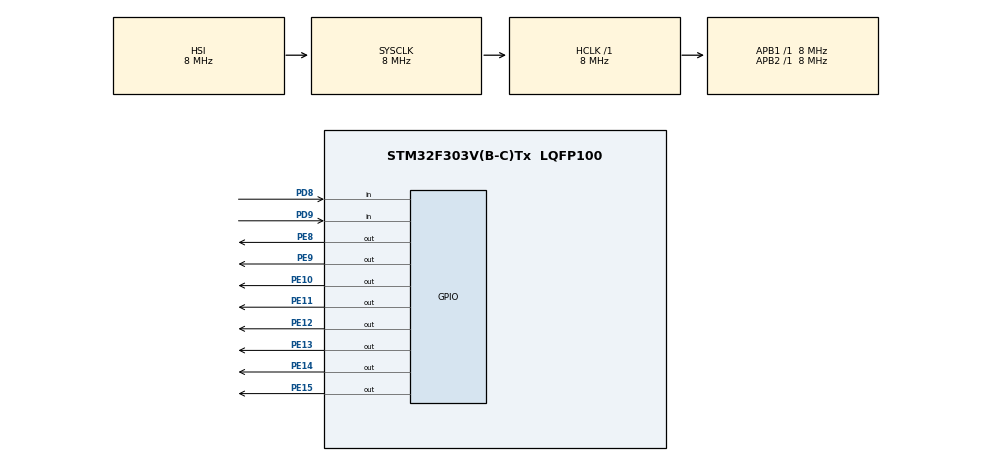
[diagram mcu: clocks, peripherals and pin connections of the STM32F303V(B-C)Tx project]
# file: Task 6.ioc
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Mcu.Family=STM32F3
Mcu.Name=STM32F303V(B-C)Tx
Mcu.Package=LQFP100
NVIC.PriorityGroup=NVIC_PRIORITYGROUP_4
PD8.GPIO_PuPd=GPIO_PULLDOWN
PD8.Signal=GPIO_Input
PD9.GPIO_PuPd=GPIO_PULLDOWN
PD9.Signal=GPIO_Input
PE10.Signal=GPIO_Output
PE11.Signal=GPIO_Output
PE12.Signal=GPIO_Output
PE13.Signal=GPIO_Output
PE14.Signal=GPIO_Output
PE15.Signal=GPIO_Output
PE8.Signal=GPIO_Output
PE9.Signal=GPIO_Output
ProjectManager.HeapSize=0x200
ProjectManager.StackSize=0x400
ProjectManager.TargetToolchain=MDK-ARM V5.27
RCC.AHBFreq_Value=8000000
RCC.APB1Freq_Value=8000000
RCC.APB2Freq_Value=8000000
RCC.CortexFreq_Value=8000000
RCC.HSE_VALUE=8000000
RCC.HSI_VALUE=8000000
RCC.LSE_VALUE=32768
RCC.SYSCLKFreq_VALUE=8000000
board=custom

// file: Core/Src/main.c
/* USER CODE BEGIN Header */
/**
  ******************************************************************************
  * @file           : main.c
  * @brief          : Main program body
  ******************************************************************************
  * @attention
  *
  * <h2><center>&copy; Copyright (c) 2023 STMicroelectronics.
  * All rights reserved.</center></h2>
  *
  * This software component is licensed by ST under BSD 3-Clause license,
  * the "License"; You may not use this file except in compliance with the
  * License. You may obtain a copy of the License at:
  *                        opensource.org/licenses/BSD-3-Clause
  *
  ******************************************************************************
  */
/* USER CODE END Header */
#include "main.h"
#include "stdlib.h"

void SystemClock_Config(void);
static void MX_GPIO_Init(void);
/* USER CODE BEGIN PFP */
void circular();
void compass();

/* USER CODE END PFP */

int main(void)
{

  /* MCU Configuration--------------------------------------------------------*/

  /* Reset of all peripherals, Initializes the Flash interface and the Systick. */
  HAL_Init();

  /* Configure the system clock */
  SystemClock_Config();

  /* Initialize all configured peripherals */
  MX_GPIO_Init();

  /* Infinite loop */
  /* USER CODE BEGIN WHILE */
  while (1)
  {

		if(HAL_GPIO_ReadPin(GPIOD,GPIO_PIN_8)==GPIO_PIN_SET){
		circular();
			};

			if(HAL_GPIO_ReadPin(GPIOD,GPIO_PIN_9)==GPIO_PIN_SET){
		compass();
			};

    /* USER CODE END WHILE */

  }
}

void SystemClock_Config(void)
{
  RCC_OscInitTypeDef RCC_OscInitStruct = {0};
  RCC_ClkInitTypeDef RCC_ClkInitStruct = {0};

  /** Initializes the RCC Oscillators according to the specified parameters
  * in the RCC_OscInitTypeDef structure.
  */
  RCC_OscInitStruct.OscillatorType = RCC_OSCILLATORTYPE_HSI;
  RCC_OscInitStruct.HSIState = RCC_HSI_ON;
  RCC_OscInitStruct.HSICalibrationValue = RCC_HSICALIBRATION_DEFAULT;
  RCC_OscInitStruct.PLL.PLLState = RCC_PLL_NONE;
  if (HAL_RCC_OscConfig(&RCC_OscInitStruct) != HAL_OK)
  {
    Error_Handler();
  }
  /** Initializes the CPU, AHB and APB buses clocks
  */
  RCC_ClkInitStruct.ClockType = RCC_CLOCKTYPE_HCLK|RCC_CLOCKTYPE_SYSCLK
                              |RCC_CLOCKTYPE_PCLK1|RCC_CLOCKTYPE_PCLK2;
  RCC_ClkInitStruct.SYSCLKSource = RCC_SYSCLKSOURCE_HSI;
  RCC_ClkInitStruct.AHBCLKDivider = RCC_SYSCLK_DIV1;
  RCC_ClkInitStruct.APB1CLKDivider = RCC_HCLK_DIV1;
  RCC_ClkInitStruct.APB2CLKDivider = RCC_HCLK_DIV1;

  if (HAL_RCC_ClockConfig(&RCC_ClkInitStruct, FLASH_LATENCY_0) != HAL_OK)
  {
    Error_Handler();
  }
}

static void MX_GPIO_Init(void)
{
  GPIO_InitTypeDef GPIO_InitStruct = {0};

  /* GPIO Ports Clock Enable */
  __HAL_RCC_GPIOE_CLK_ENABLE();
  __HAL_RCC_GPIOD_CLK_ENABLE();

  /*Configure GPIO pin Output Level */
  HAL_GPIO_WritePin(GPIOE, GPIO_PIN_8|GPIO_PIN_9|GPIO_PIN_10|GPIO_PIN_11
                          |GPIO_PIN_12|GPIO_PIN_13|GPIO_PIN_14|GPIO_PIN_15, GPIO_PIN_RESET);

  /*Configure GPIO pins : PE8 PE9 PE10 PE11
                           PE12 PE13 PE14 PE15 */
  GPIO_InitStruct.Pin = GPIO_PIN_8|GPIO_PIN_9|GPIO_PIN_10|GPIO_PIN_11
                          |GPIO_PIN_12|GPIO_PIN_13|GPIO_PIN_14|GPIO_PIN_15;
  GPIO_InitStruct.Mode = GPIO_MODE_OUTPUT_PP;
  GPIO_InitStruct.Pull = GPIO_NOPULL;
  GPIO_InitStruct.Speed = GPIO_SPEED_FREQ_LOW;
  HAL_GPIO_Init(GPIOE, &GPIO_InitStruct);

  /*Configure GPIO pins : PD8 PD9 */
  GPIO_InitStruct.Pin = GPIO_PIN_8|GPIO_PIN_9;
  GPIO_InitStruct.Mode = GPIO_MODE_INPUT;
  GPIO_InitStruct.Pull = GPIO_PULLDOWN;
  HAL_GPIO_Init(GPIOD, &GPIO_InitStruct);

}

/* USER CODE BEGIN 4 */
void circular(){

	HAL_GPIO_WritePin(GPIOE,GPIO_PIN_8,GPIO_PIN_SET);
  HAL_Delay(100);
	HAL_GPIO_WritePin(GPIOE,GPIO_PIN_9,GPIO_PIN_SET);
	  HAL_Delay(100);
	HAL_GPIO_WritePin(GPIOE,GPIO_PIN_10,GPIO_PIN_SET);
	  HAL_Delay(100);
	HAL_GPIO_WritePin(GPIOE,GPIO_PIN_11,GPIO_PIN_SET);
	  HAL_Delay(100);
	HAL_GPIO_WritePin(GPIOE,GPIO_PIN_12,GPIO_PIN_SET);
	  HAL_Delay(100);
	HAL_GPIO_WritePin(GPIOE,GPIO_PIN_13,GPIO_PIN_SET);
	  HAL_Delay(100);
	HAL_GPIO_WritePin(GPIOE,GPIO_PIN_14,GPIO_PIN_SET);
	  HAL_Delay(100);
	HAL_GPIO_WritePin(GPIOE,GPIO_PIN_15,GPIO_PIN_SET);
	  HAL_Delay(100);

	HAL_GPIO_WritePin(GPIOE,GPIO_PIN_8,GPIO_PIN_RESET);
  HAL_Delay(100);
	HAL_GPIO_WritePin(GPIOE,GPIO_PIN_9,GPIO_PIN_RESET);
	  HAL_Delay(100);
	HAL_GPIO_WritePin(GPIOE,GPIO_PIN_10,GPIO_PIN_RESET);
	  HAL_Delay(100);
	HAL_GPIO_WritePin(GPIOE,GPIO_PIN_11,GPIO_PIN_RESET);
	  HAL_Delay(100);
	HAL_GPIO_WritePin(GPIOE,GPIO_PIN_12,GPIO_PIN_RESET);
	  HAL_Delay(100);
	HAL_GPIO_WritePin(GPIOE,GPIO_PIN_13,GPIO_PIN_RESET);
	  HAL_Delay(100);
	HAL_GPIO_WritePin(GPIOE,GPIO_PIN_14,GPIO_PIN_RESET);
	  HAL_Delay(100);
	HAL_GPIO_WritePin(GPIOE,GPIO_PIN_15,GPIO_PIN_RESET);
	  HAL_Delay(100);

}

void compass(){
			HAL_GPIO_WritePin(GPIOE,GPIO_PIN_9,GPIO_PIN_SET);
		 		  HAL_Delay(100);

			HAL_GPIO_WritePin(GPIOE,GPIO_PIN_13,GPIO_PIN_SET);
						  HAL_Delay(100);

			HAL_GPIO_WritePin(GPIOE,GPIO_PIN_9,GPIO_PIN_SET);
						  HAL_Delay(100);

			HAL_GPIO_WritePin(GPIOE,GPIO_PIN_15,GPIO_PIN_SET);
		 		  HAL_Delay(100);

			HAL_GPIO_WritePin(GPIOE,GPIO_PIN_11,GPIO_PIN_SET);
		  HAL_Delay(100);

		HAL_GPIO_WritePin(GPIOE,GPIO_PIN_9,GPIO_PIN_RESET);
		  		  HAL_Delay(100);

		HAL_GPIO_WritePin(GPIOE,GPIO_PIN_13,GPIO_PIN_RESET);
			  		  HAL_Delay(100);

	  HAL_GPIO_WritePin(GPIOE,GPIO_PIN_9,GPIO_PIN_RESET);
							  HAL_Delay(100);

		HAL_GPIO_WritePin(GPIOE,GPIO_PIN_15,GPIO_PIN_RESET);
			  		  HAL_Delay(100);

		HAL_GPIO_WritePin(GPIOE,GPIO_PIN_11,GPIO_PIN_RESET);
			  HAL_Delay(100);

}

/* USER CODE END 4 */

void Error_Handler(void)
{
  __disable_irq();
  while (1)
  {
  }
}

/************************ (C) COPYRIGHT STMicroelectronics *****END OF FILE****/
